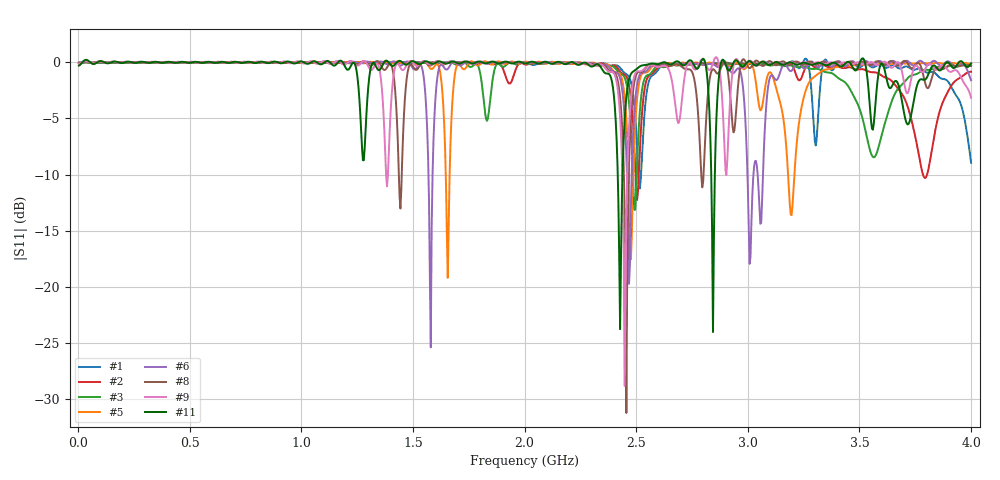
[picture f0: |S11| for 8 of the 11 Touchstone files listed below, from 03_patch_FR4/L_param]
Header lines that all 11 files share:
! TOUCHSTONE file generated by CST MICROWAVE STUDIO
! Project name: AppElm_antenne_patch_FR4.cst
! Header version: 2018
! Port assignment regex: !\s*Touchstone port\s*([0-9]+)\s*=\s*(CST MWS port|CST DS port)\s*([0-9]+|Zmin|Zmax)\s*\(\"(.*)\"\)(\s*mode\s*([0-9]+))?.*
! Touchstone port assignment:
! Touchstone port 1 = CST MWS port 1 ("")
# GHz S MA R 50
Fixed: W = 58.5, e = 0.035, h = 1.6, lambda = 0.190476, ls = 120, w0 = 2.54, w1 = 0.847, ws = 120, y0 = 18, y1 = 23.8
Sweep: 4 MHz to 4 GHz
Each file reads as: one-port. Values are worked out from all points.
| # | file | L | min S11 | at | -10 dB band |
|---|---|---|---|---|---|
| 1 | AppElm_antenne_patch_FR4_1.s1p | 33.75 | -11.2 dB | 2.516 GHz | 11.37 MHz wide |
| 2 | AppElm_antenne_patch_FR4_2.s1p | 36 | -12.3 dB | 2.504 GHz | 17.98 MHz wide |
| 3 | AppElm_antenne_patch_FR4_3.s1p | 38.25 | -13.1 dB | 2.492 GHz | 16.92 MHz wide |
| 4 | AppElm_antenne_patch_FR4_4.s1p | 40.5 | -15.1 dB | 2.484 GHz | 19.07 MHz wide |
| 5 | AppElm_antenne_patch_FR4_5.s1p | 42.75 | -19.2 dB | 1.656 GHz | 28.33 MHz wide |
| 6 | AppElm_antenne_patch_FR4_6.s1p | 45 | -25.4 dB | 1.58 GHz | 26.92 MHz wide |
| 7 | AppElm_antenne_patch_FR4_7.s1p | 47.25 | -34.9 dB | 2.912 GHz | 21.71 MHz wide |
| 8 | AppElm_antenne_patch_FR4_8.s1p | 49.5 | -31.2 dB | 2.456 GHz | 21.99 MHz wide |
| 9 | AppElm_antenne_patch_FR4_9.s1p | 51.75 | -28.8 dB | 2.448 GHz | 22.2 MHz wide |
| 10 | AppElm_antenne_patch_FR4_10.s1p | 54 | -24.7 dB | 2.44 GHz | 21.78 MHz wide |
| 11 | AppElm_antenne_patch_FR4_11.s1p | 56.25 | -24.0 dB | 2.844 GHz | 21.45 MHz wide |
